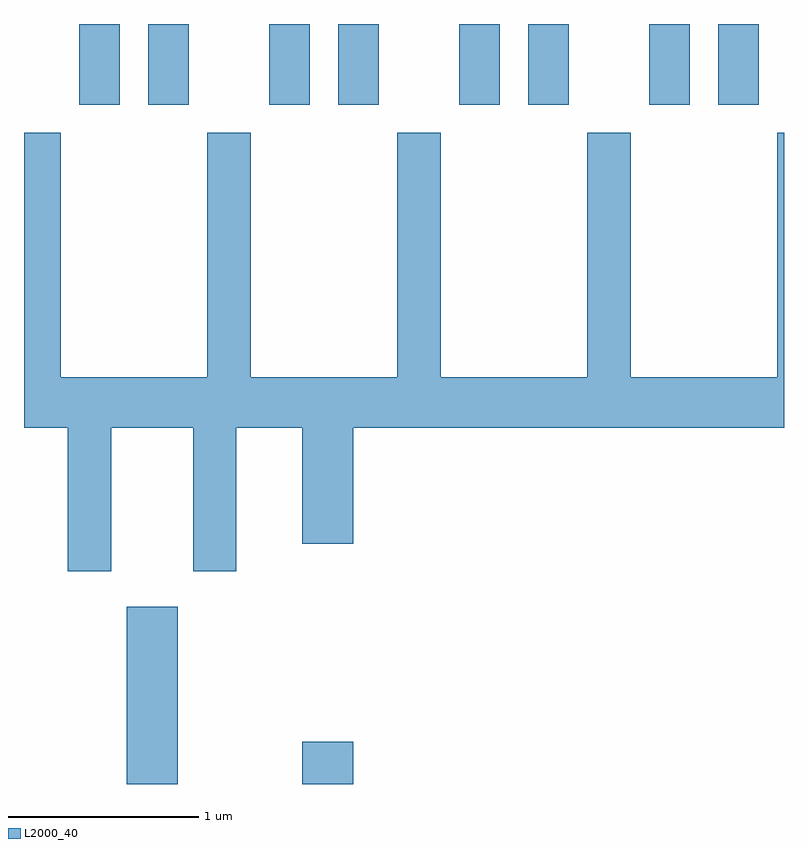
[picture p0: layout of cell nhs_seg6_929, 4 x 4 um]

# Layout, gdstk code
import gdstk
lib = gdstk.Library(unit=1e-6, precision=1e-09)
def R(c, l, rs):  # rectangles x0, y0, x1, y1
    for r in rs: c.add(gdstk.rectangle(r[:2], r[2:], *l))
def P(c, l, *ps):  # polygons
    for p in ps: c.add(gdstk.Polygon(p, *l))
L2000_40 = (2000, 40)

nhs_seg6_929 = lib.new_cell('nhs_seg6_929')
R(nhs_seg6_929, L2000_40, [(214.151,1548.162,214.419,1549.094), (215.076,1548.162,215.344,1548.384), (213.901,1551.736,214.114,1552.162), (214.266,1551.736,214.479,1552.162), (214.901,1551.736,215.114,1552.162), (215.266,1551.736,215.479,1552.162), (215.901,1551.736,216.114,1552.162), (216.266,1551.736,216.479,1552.162), (216.901,1551.736,217.114,1552.162), (217.266,1551.736,217.479,1552.162)])
P(nhs_seg6_929, L2000_40, [(214.069,1550.036),(214.501,1550.036),(214.501,1549.281),(214.729,1549.281),(214.729,1550.036),(215.076,1550.036),(215.076,1549.426),(215.344,1549.426),(215.344,1550.036),(217.611,1550.036),(217.611,1551.589),(217.576,1551.589),(217.576,1550.304),(216.804,1550.304),(216.804,1551.589),(216.576,1551.589),(216.576,1550.304),(215.804,1550.304),(215.804,1551.589),(215.576,1551.589),(215.576,1550.304),(214.804,1550.304),(214.804,1551.589),(214.576,1551.589),(214.576,1550.304),(213.804,1550.304),(213.804,1551.589),(213.611,1551.589),(213.611,1550.036),(213.841,1550.036),(213.841,1549.281),(214.069,1549.281)])

lib.write_gds('nhs_seg6_929.gds')
